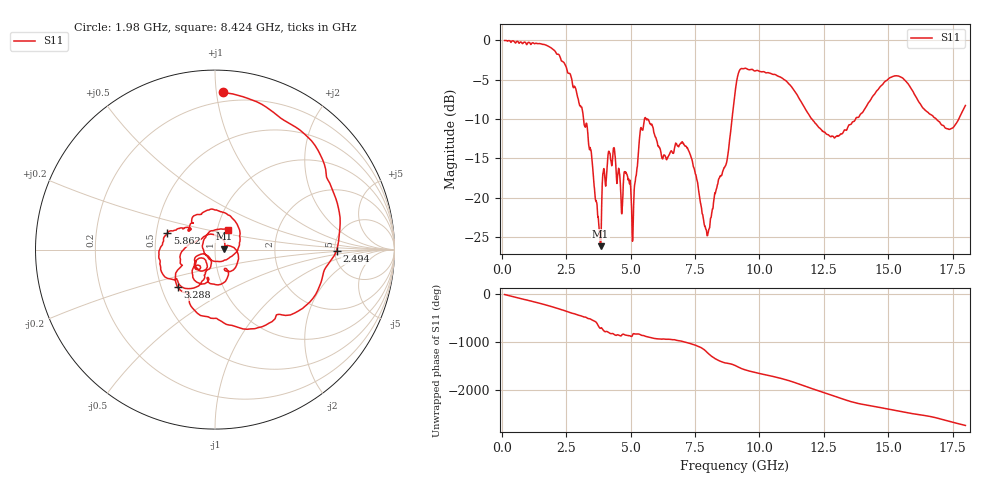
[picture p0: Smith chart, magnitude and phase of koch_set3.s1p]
!Keysight Technologies,N5222B,MY60213399,A.14.00.23
!Date: Monday, June 05, 2023 21:57:44
!Correction: S11(C  1-Port  )
!S1P File: Measurement: :
# Hz S  dB  R 50
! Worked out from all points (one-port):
!   1601 points, 100 MHz to 18 GHz, reference 50 ohm
!   lowest |S11| = -26.2 dB at 3.825 GHz (marker M1), VSWR 1.10, Z = 55.1 + j0.599 ohm
!   |S11| at or under -10 dB: 3.166 GHz to 5.535 GHz (2.369 GHz wide, 54.5 % of centre); 5.607 GHz to 8.936 GHz (3.329 GHz wide, 45.8 % of centre); 12.03 GHz to 13.73 GHz (1.704 GHz wide, 13.2 % of centre)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
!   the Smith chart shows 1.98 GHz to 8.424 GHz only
!   S11 on the Smith chart (normalised r, x): 1.98 GHz: 0.14, +1.04; 2.494 GHz: 5.19, -0.15; 3.288 GHz: 0.61, -0.28; 5.862 GHz: 0.57, +0.12; 8.424 GHz: 1.13, +0.25
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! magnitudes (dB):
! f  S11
! 100 MHz  0.0
! 1.98 GHz  -1.1
! 2.337 GHz  -2.7
! 2.494 GHz  -3.4
! 3.288 GHz  -10.6
! 3.758 GHz  -23.2
! 3.825 GHz  -26.2
! 4.161 GHz  -14.2
! 4.575 GHz  -17.2
! 4.832 GHz  -17.0
! 5.09 GHz  -24.1
! 5.425 GHz  -11.3
! 5.862 GHz  -11.0
! 6.298 GHz  -14.6
! 6.812 GHz  -13.4
! 7.316 GHz  -14.5
! 7.954 GHz  -24.6
! 8.424 GHz  -17.6
! 8.737 GHz  -15.3
! 9.05 GHz  -6.7
! 9.374 GHz  -3.6
! 11.29 GHz  -6.1
! 12.67 GHz  -12.0
! 13.53 GHz  -10.7
! 15.02 GHz  -4.8
! 15.76 GHz  -5.5
! 17.3 GHz  -11.3
! 18 GHz  -8.3
